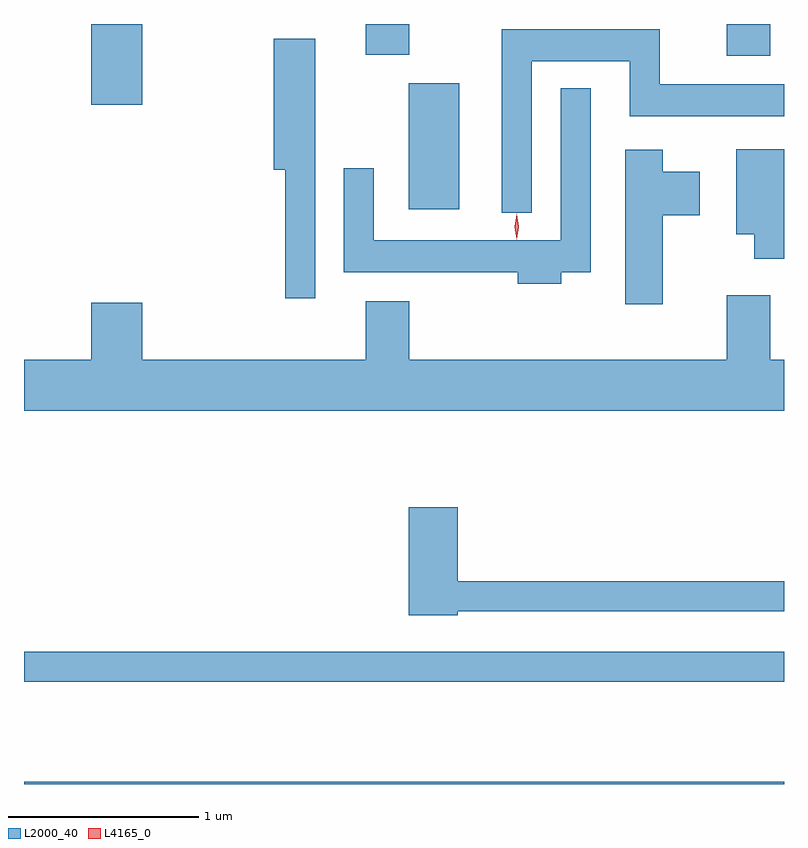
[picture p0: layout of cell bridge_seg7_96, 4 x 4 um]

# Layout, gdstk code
import gdstk
lib = gdstk.Library(unit=1e-6, precision=1e-09)
def R(c, l, rs):  # rectangles x0, y0, x1, y1
    for r in rs: c.add(gdstk.rectangle(r[:2], r[2:], *l))
def P(c, l, *ps):  # polygons
    for p in ps: c.add(gdstk.Polygon(p, *l))
L2000_40 = (2000, 40)
L4165_0 = (4165, 0)

bridge_seg7_96 = lib.new_cell('bridge_seg7_96')
R(bridge_seg7_96, L2000_40, [(1493.442,1794.492,1497.442,1794.504), (1493.442,1795.031,1497.442,1795.189), (1495.466,1797.516,1495.734,1798.179), (1493.796,1798.066,1494.064,1798.492), (1497.141,1798.326,1497.369,1798.492), (1495.241,1798.331,1495.469,1798.492)])
P(bridge_seg7_96, L2000_40, [(1496.114,1798.296),(1496.631,1798.296),(1496.631,1798.006),(1497.442,1798.006),(1497.442,1798.174),(1496.789,1798.174),(1496.789,1798.464),(1495.956,1798.464),(1495.956,1797.498),(1496.114,1797.498)],
  [(1494.974,1798.414),(1494.756,1798.414),(1494.756,1797.726),(1494.816,1797.726),(1494.816,1797.048),(1494.974,1797.048)],
  [(1496.269,1797.186),(1496.424,1797.186),(1496.424,1798.153),(1496.266,1798.153),(1496.266,1797.354),(1495.284,1797.354),(1495.284,1797.733),(1495.126,1797.733),(1495.126,1797.186),(1496.041,1797.186),(1496.041,1797.126),(1496.269,1797.126)],
  [(1497.442,1797.834),(1497.191,1797.834),(1497.191,1797.386),(1497.286,1797.386),(1497.286,1797.256),(1497.442,1797.256)],
  [(1496.804,1797.486),(1496.999,1797.486),(1496.999,1797.714),(1496.804,1797.714),(1496.804,1797.829),(1496.606,1797.829),(1496.606,1797.016),(1496.804,1797.016)],
  [(1497.442,1796.724),(1497.369,1796.724),(1497.369,1797.064),(1497.141,1797.064),(1497.141,1796.724),(1495.469,1796.724),(1495.469,1797.034),(1495.241,1797.034),(1495.241,1796.724),(1494.064,1796.724),(1494.064,1797.024),(1493.796,1797.024),(1493.796,1796.724),(1493.442,1796.724),(1493.442,1796.456),(1497.442,1796.456)],
  [(1495.724,1795.401),(1497.442,1795.401),(1497.442,1795.559),(1495.724,1795.559),(1495.724,1795.949),(1495.466,1795.949),(1495.466,1795.381),(1495.724,1795.381)])
P(bridge_seg7_96, L4165_0, [(1496.036,1797.359),(1496.035,1797.36),(1496.026,1797.426),(1496.035,1797.492),(1496.035,1797.493),(1496.036,1797.492),(1496.046,1797.426),(1496.036,1797.36)])

lib.write_gds('bridge_seg7_96.gds')
